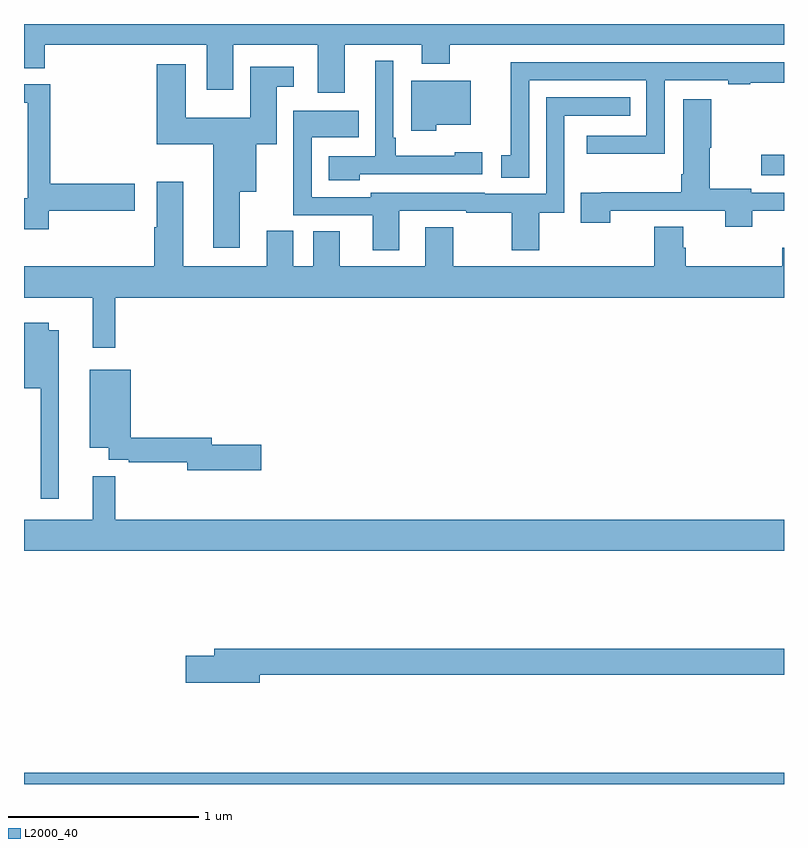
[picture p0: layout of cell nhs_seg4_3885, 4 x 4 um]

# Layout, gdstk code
import gdstk
lib = gdstk.Library(unit=1e-6, precision=1e-09)
def R(c, l, rs):  # rectangles x0, y0, x1, y1
    for r in rs: c.add(gdstk.rectangle(r[:2], r[2:], *l))
def P(c, l, *ps):  # polygons
    for p in ps: c.add(gdstk.Polygon(p, *l))
L2000_40 = (2000, 40)

nhs_seg4_3885 = lib.new_cell('nhs_seg4_3885')
R(nhs_seg4_3885, L2000_40, [(315,820.9,319,820.96), (318.879,824.103,319,824.212)])
P(nhs_seg4_3885, L2000_40, [(316.687,824.792),(317.093,824.792),(317.093,824.69),(317.241,824.69),(317.241,824.792),(319,824.792),(319,824.9),(315,824.9),(315,824.668),(315.11,824.668),(315.11,824.792),(315.962,824.792),(315.962,824.553),(316.102,824.553),(316.102,824.792),(316.547,824.792),(316.547,824.538),(316.687,824.538)],
  [(316.766,824.109),(317.413,824.109),(317.413,824.224),(317.268,824.224),(317.268,824.206),(316.957,824.206),(316.957,824.302),(316.944,824.302),(316.944,824.707),(316.848,824.707),(316.848,824.205),(316.605,824.205),(316.605,824.078),(316.766,824.078)],
  [(317.658,824.604),(318.276,824.604),(318.276,824.313),(317.961,824.313),(317.961,824.216),(318.372,824.216),(318.372,824.604),(318.706,824.604),(318.706,824.584),(318.822,824.584),(318.822,824.592),(319,824.592),(319,824.7),(317.561,824.7),(317.561,824.209),(317.511,824.209),(317.511,824.092),(317.658,824.092)],
  [(316.135,824.018),(316.222,824.018),(316.222,824.267),(316.33,824.267),(316.33,824.57),(316.42,824.57),(316.42,824.674),(316.19,824.674),(316.19,824.407),(315.85,824.407),(315.85,824.689),(315.698,824.689),(315.698,824.267),(315.995,824.267),(315.995,823.722),(316.135,823.722)],
  [(317.169,824.369),(317.35,824.369),(317.35,824.602),(317.039,824.602),(317.039,824.339),(317.169,824.339)],
  [(315.13,823.918),(315.583,823.918),(315.583,824.06),(315.137,824.06),(315.137,824.583),(315,824.583),(315,824.486),(315.021,824.486),(315.021,823.982),(315,823.982),(315,823.821),(315.13,823.821)],
  [(316.975,823.917),(317.328,823.917),(317.328,823.906),(317.566,823.906),(317.566,823.71),(317.713,823.71),(317.713,823.906),(317.844,823.906),(317.844,824.418),(318.191,824.418),(318.191,824.514),(317.748,824.514),(317.748,824.007),(317.424,824.007),(317.424,824.013),(316.824,824.013),(316.824,823.989),(316.515,823.989),(316.515,824.303),(316.763,824.303),(316.763,824.443),(316.418,824.443),(316.418,823.893),(316.835,823.893),(316.835,823.709),(316.975,823.709)],
  [(318.832,823.917),(319,823.917),(319,824.013),(318.828,824.013),(318.828,824.033),(318.61,824.033),(318.61,824.25),(318.618,824.25),(318.618,824.503),(318.47,824.503),(318.47,824.11),(318.458,824.11),(318.458,824.015),(318.037,824.015),(318.037,824.013),(317.929,824.013),(317.929,823.854),(318.086,823.854),(318.086,823.917),(318.692,823.917),(318.692,823.832),(318.832,823.832)],
  [(318.317,823.832),(318.317,823.624),(317.259,823.624),(317.259,823.831),(317.111,823.831),(317.111,823.624),(316.663,823.624),(316.663,823.808),(316.523,823.808),(316.523,823.624),(316.416,823.624),(316.416,823.812),(316.277,823.812),(316.277,823.624),(315.838,823.624),(315.838,824.071),(315.698,824.071),(315.698,823.829),(315.686,823.829),(315.686,823.624),(315,823.624),(315,823.46),(315.361,823.46),(315.361,823.197),(315.479,823.197),(315.479,823.46),(319,823.46),(319,823.722),(318.992,823.722),(318.992,823.624),(318.482,823.624),(318.482,823.722),(318.469,823.722),(318.469,823.832)],
  [(315.184,823.288),(315.13,823.288),(315.13,823.327),(315,823.327),(315,822.983),(315.087,822.983),(315.087,822.402),(315.184,822.402)],
  [(316.249,822.686),(315.988,822.686),(315.988,822.722),(315.562,822.722),(315.562,823.081),(315.347,823.081),(315.347,822.671),(315.446,822.671),(315.446,822.606),(315.55,822.606),(315.55,822.594),(315.86,822.594),(315.86,822.551),(316.249,822.551)],
  [(319,822.292),(315.479,822.292),(315.479,822.521),(315.362,822.521),(315.362,822.292),(315,822.292),(315,822.128),(319,822.128)],
  [(316.24,821.476),(319,821.476),(319,821.612),(316.001,821.612),(316.001,821.576),(315.852,821.576),(315.852,821.434),(316.24,821.434)])

lib.write_gds('nhs_seg4_3885.gds')
